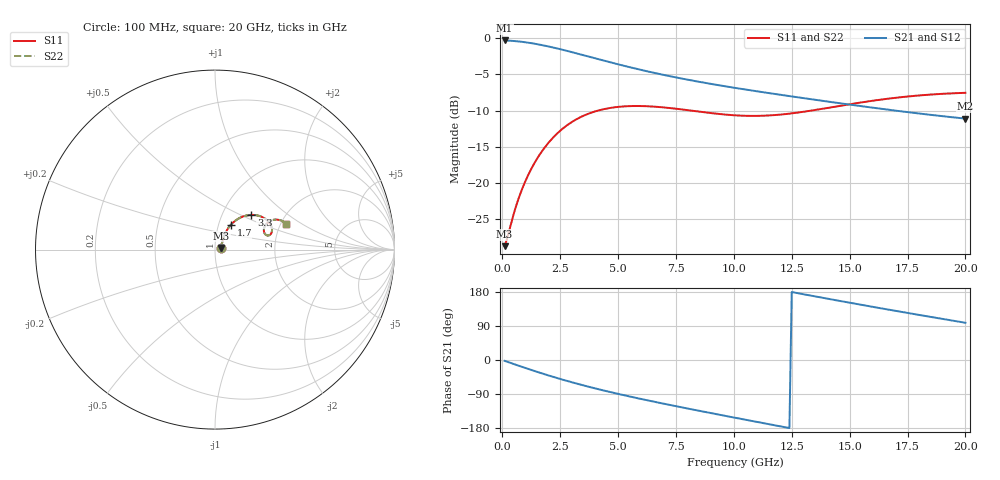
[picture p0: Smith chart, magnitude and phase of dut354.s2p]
! Touchstone file exported from HFSS 2024.1.0
!  File:  C:/UserFiles/LocalFiles/RDL_TSV_Batchsim/temp_RDL_TSV_354_1779638616.aedt
!  Generated:  12:21:16 AM May 25, 2026
!  Design:  RDL_TSV
!  Project:  temp_RDL_TSV_354_1779638616
!  Setup:  Setup1
!  Solution:  Sweep
! Variables:
!  dtsv = 10.96um
!  hbump = 3um
!  htsv = 62.06um
!  ldown = 581.65um
!  lrdl = 568.03um
!  p = 40
!  p1 = 41.76um
!  rhole = 10um
!  subl = 4017.07um
!  t = 450um
!  tdown = 2.48um
!  trdl = 4.79um
!  viad = 10um
!  wdown = 11um
!  wrdl = 12.31um
!  xbump = 18um
# GHz S MA R 50.000000
! Terminal data exported
! Port[1] = TM1_1_T1
! Port[2] = TM1_4_T1
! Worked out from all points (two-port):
!   200 points, 100 MHz to 20 GHz, reference 50 ohm
!   highest |S21| = -0.31 dB at 100 MHz (marker M1); lowest = -11.1 dB at 20 GHz (marker M2)
!   |S21| within 3 dB of the highest: start of sweep to 4.64 GHz
!   lowest |S11| = -28.8 dB at 100 MHz (marker M3), VSWR 1.08, Z = 53.6 + j1.03 ohm
!   |S11| at or under -10 dB: start of sweep to 4.142 GHz; 8.133 GHz to 13.37 GHz (5.233 GHz wide, 48.7 % of centre)
!   |S22| runs from -28.8 to -7.5 dB; largest |S21 - S12| = 9.7e-15
!   S11 on the Smith chart (normalised r, x): 100 MHz: 1.07, +0.02; 1.7 GHz: 1.14, +0.33; 3.3 GHz: 1.37, +0.58; 20 GHz: 2.13, +0.74
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0.1  0.03649 15.2  0.9647 -2.2  0.9647 -2.2  0.03649 15.2
! Gamma 0 0 0 0
! Port Impedance 50 0 50 0
0.5  0.06156 47.7  0.9566 -10.8  0.9566 -10.8  0.06156 47.7
0.8  0.08592 55.2  0.9461 -17.1  0.9461 -17.1  0.08592 55.2
1.2  0.1204 58.3  0.927 -25.2  0.927 -25.2  0.1204 58.3
1.7  0.1642 57.4  0.8969 -35.1  0.8969 -35.1  0.1642 57.4
2.1  0.1979 54.8  0.8692 -42.7  0.8692 -42.7  0.1979 54.8
2.5  0.2292 51.4  0.8396 -50.0  0.8396 -50.0  0.2292 51.4
3.3  0.2805 43.6  0.7786 -63.7  0.7786 -63.7  0.2805 43.6
3.5  0.2907 41.6  0.7635 -67.0  0.7635 -67.0  0.2907 41.6
4.2  0.318 35.0  0.7127 -77.8  0.7127 -77.8  0.3181 35.0
5.1  0.3362 27.7  0.6539 -90.8  0.6539 -90.8  0.3363 27.7
5.9  0.3398 22.4  0.6086 -101.6  0.6086 -101.6  0.3399 22.5
6.8  0.3342 18.1  0.5649 -113.2  0.5649 -113.2  0.3343 18.2
7.6  0.3241 15.8  0.5317 -123.1  0.5317 -123.1  0.3242 15.8
8.4  0.3122 14.8  0.5028 -132.8  0.5028 -132.8  0.3123 14.8
10.1  0.2927 17.0  0.4521 -152.9  0.4521 -152.9  0.2927 17.0
11.7  0.2936 22.0  0.4131 -171.5  0.4131 -171.5  0.2937 22.0
13.4  0.3169 26.3  0.3773 169.0  0.3773 169.0  0.3171 26.3
15.1  0.3514 27.4  0.3458 150.1  0.3458 150.1  0.3518 27.4
16.7  0.3825 25.9  0.3199 132.7  0.3199 132.7  0.3831 25.9
18.3  0.4056 23.2  0.2977 115.8  0.2977 115.8  0.4063 23.2
20  0.4191 19.9  0.2781 98.2  0.2781 98.2  0.4201 19.9
